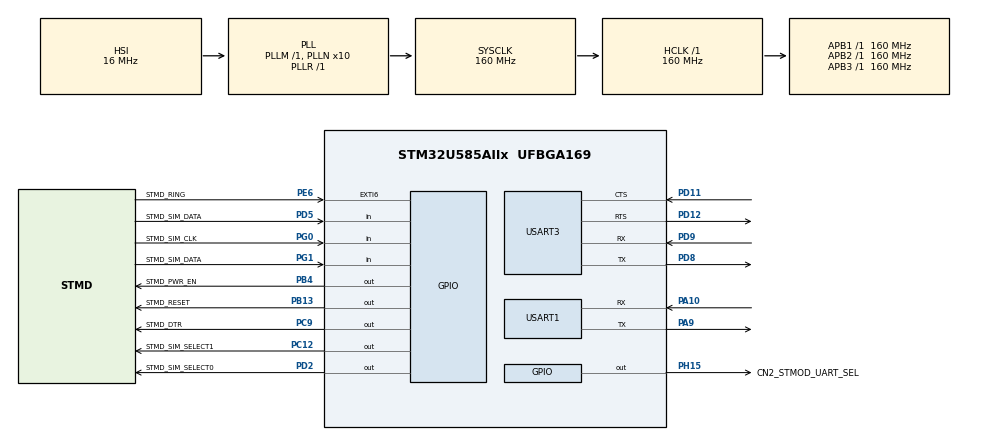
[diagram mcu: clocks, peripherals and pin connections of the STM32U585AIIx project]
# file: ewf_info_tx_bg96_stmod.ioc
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CORTEX_M33_NS.userName=CORTEX_M33
Mcu.Family=STM32U5
Mcu.Name=STM32U585AIIx
Mcu.Package=UFBGA169
NVIC.EXTI6_IRQn=true\:5\:0\:true\:false\:true\:false\:true\:true\:true
NVIC.PriorityGroup=NVIC_PRIORITYGROUP_4
NVIC.TIM3_IRQn=true\:15\:0\:false\:false\:true\:false\:false\:true\:true
NVIC.TimeBase=TIM3_IRQn
NVIC.TimeBaseIP=TIM3
NVIC.USART1_IRQn=true\:0\:0\:false\:false\:true\:false\:true\:true\:true
NVIC.USART3_IRQn=true\:0\:0\:false\:false\:true\:false\:true\:true\:true
PA10.Mode=Asynchronous
PA10.Signal=USART1_RX
PA13\ (JTMS/SWDIO).Mode=Trace_Asynchronous_SW
PA13\ (JTMS/SWDIO).Signal=DEBUG_JTMS-SWDIO
PA14\ (JTCK/SWCLK).Mode=Trace_Asynchronous_SW
PA14\ (JTCK/SWCLK).Signal=DEBUG_JTCK-SWCLK
PA9.Mode=Asynchronous
PA9.Signal=USART1_TX
PB13.GPIO_Label=STMD_RESET
PB13.PinState=GPIO_PIN_SET
PB13.Signal=GPIO_Output
PB3\ (JTDO/TRACESWO).Mode=Trace_Asynchronous_SW
PB3\ (JTDO/TRACESWO).Signal=DEBUG_JTDO-SWO
PB4\ (NJTRST).GPIO_Label=STMD_PWR_EN
PB4\ (NJTRST).PinState=GPIO_PIN_SET
PB4\ (NJTRST).Signal=GPIO_Output
PC12.GPIO_Label=STMD_SIM_SELECT1
PC12.Signal=GPIO_Output
PC9.GPIO_Label=STMD_DTR
PC9.Signal=GPIO_Output
PD11.Mode=CTS_RTS
PD11.Signal=USART3_CTS
PD12.Mode=CTS_RTS
PD12.Signal=USART3_RTS
PD2.GPIO_Label=STMD_SIM_SELECT0
PD2.Signal=GPIO_Output
PD5.GPIO_Label=STMD_SIM_DATA
PD5.Signal=GPIO_Input
PD8.Mode=Asynchronous
PD8.Signal=USART3_TX
PD9.Mode=Asynchronous
PD9.Signal=USART3_RX
PE6.GPIO_Label=STMD_RING
PE6.Signal=GPXTI6
PG0.GPIO_Label=STMD_SIM_CLK
PG0.Signal=GPIO_Input
PG1.GPIO_Label=STMD_SIM_DATA
PG1.Signal=GPIO_Input
PH15.GPIO_Label=CN2_STMOD_UART_SEL
PH15.PinState=GPIO_PIN_SET
PH15.Signal=GPIO_Output
PWR.PowerMode=PWR_SMPS_SUPPLY
ProjectManager.HeapSize=0x200
ProjectManager.StackSize=0x400
ProjectManager.TargetToolchain=STM32CubeIDE
RCC.ADCFreq_Value=16000000
RCC.AHBFreq_Value=160000000
RCC.APB1Freq_Value=160000000
RCC.APB1TimFreq_Value=160000000
RCC.APB2Freq_Value=160000000
RCC.APB2TimFreq_Value=160000000
RCC.APB3Freq_Value=160000000
RCC.CortexFreq_Value=160000000
RCC.DACCLockSelectionVirtual=RCC_DAC1CLKSOURCE_LSI
RCC.EPOD_VALUE=16000000
RCC.HCLKFreq_Value=160000000
RCC.HSE_VALUE=16000000
RCC.HSI48_VALUE=48000000
RCC.HSI_VALUE=16000000
RCC.LSE_VALUE=32768
RCC.LSIDIV_VALUE=32000
RCC.MSIClockRange=RCC_MSIRANGE_0
RCC.MSI_VALUE=48000000
RCC.PLL1R=1
RCC.PLLN=10
RCC.PLLSourceVirtual=RCC_PLLSOURCE_HSI
RCC.SPI2CLockSelection=RCC_SPI2CLKSOURCE_PCLK1
RCC.SYSCLKFreq_VALUE=160000000
RCC.SYSCLKSource=RCC_SYSCLKSOURCE_PLLCLK
RCC.USBFreq_Value=48000000
RCC.VCOOutputFreq_Value=160000000
THREADX.AZRTOS_APP_MEM_ALLOCATION_METHOD=1
THREADX.TX_APP_MEM_POOL_SIZE=(512*1)
USART1.VirtualMode-Asynchronous=VM_ASYNC
USART3.FIFOMode=FIFOMODE_ENABLE
USART3.RXFIFOThreshold=RXFIFO_THRESHOLD_1QUARTERFULL
USART3.TXFIFOThreshold=TXFIFO_THRESHOLD_1QUARTERFULL
USART3.VirtualMode-Asynchronous=VM_ASYNC
VP_ICACHE_VS_ICACHE.Mode=DirectMappedCache
VP_LPBAMQUEUE_VS_QUEUE.Mode=QUEUEMODE
VP_LPBAM_VS_SIG1.Mode=SmartRun
VP_LPBAM_VS_SIG4.Mode=LPDMA1
VP_MEMORYMAP_VS_MEMORYMAP.Mode=CurAppReg
VP_NETXDUO_VS_AddonsOoDNS.Mode=Addons_DNS
VP_NETXDUO_VS_AddonsOoPPP.Mode=Addons_PPP
VP_NETXDUO_VS_AddonsOoSNTP.Mode=Addons_SNTP
VP_NETXDUO_VS_AddonsOomDNS.Mode=Addons_mDNS
VP_NETXDUO_VS_Crypto.Mode=Crypto
VP_NETXDUO_VS_NXOoCore.Mode=NX_Core
VP_NETXDUO_VS_TLS.Mode=TLS
VP_PWR_VS_DBSignals.Mode=DisableDeadBatterySignals
VP_PWR_VS_LPOM.Mode=PowerOptimisation
VP_PWR_VS_SECSignals.Mode=Security/Privilege
VP_SYS_VS_tim3.Mode=TIM3
VP_THREADX_VS_RTOSJjThreadXJjCoreJjDefault.Mode=Core_Default
board=custom

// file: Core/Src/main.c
/* USER CODE BEGIN Header */
/**
  ******************************************************************************
  * @file           : main.c
  * @brief          : Main program body
  ******************************************************************************
  * @attention
  *
  * Copyright (c) 2022 STMicroelectronics.
  * All rights reserved.
  *
  * This software is licensed under terms that can be found in the LICENSE file
  * in the root directory of this software component.
  * If no LICENSE file comes with this software, it is provided AS-IS.
  *
  ******************************************************************************
  */
/* USER CODE END Header */
#include "app_threadx.h"
#include "main.h"

/* USER CODE BEGIN Includes */

#include <stdlib.h>

#include "stm32u5xx_hal.h"
#include "stm32u5xx_ll_bus.h"
#include "stm32u5xx_ll_rcc.h"
#include "stm32u5xx_ll_system.h"
#include "stm32u5xx_ll_utils.h"
#include "stm32u5xx_ll_pwr.h"
#include "stm32u5xx_ll_exti.h"
#include "stm32u5xx_ll_gpio.h"
#include "stm32u5xx_ll_usart.h"

#include "ewf_lib.c"
#include "ewf_platform_threadx.c"
#include "ewf_allocator.c"
#include "ewf_allocator_threadx.c"
#include "ewf_tokenizer.c"
#include "ewf_tokenizer_basic.c"
#include "ewf_interface.c"
#include "ewf_interface_stm32_uart.c"
#include "ewf_adapter.c"
#include "ewf_adapter_api_control.c"
#include "ewf_adapter_api_info.c"
#include "ewf_adapter_api_tls_basic.c"
#include "ewf_adapter_api_mqtt_basic.c"
#include "ewf_adapter_api_tcp.c"
#include "ewf_adapter_api_udp.c"
#include "ewf_adapter_api_modem.c"
#include "ewf_adapter_api_modem_general.c"
#include "ewf_adapter_api_modem_network_service.c"
#include "ewf_adapter_api_modem_packet_domain.c"
#include "ewf_adapter_api_modem_sim_utility.c"
#include "ewf_adapter_api_modem_sms.c"

#define USE_QUECTEL_MODEM 1

#if(USE_QUECTEL_MODEM)
#include "ewf_adapter_quectel_bg96.c"
#include "ewf_adapter_quectel_common_tokenizer.c"
#include "ewf_adapter_quectel_common_urc.c"
#include "ewf_adapter_quectel_common_control.c"
#include "ewf_adapter_quectel_common_context.c"
#include "ewf_adapter_quectel_common_info.c"
#include "ewf_adapter_quectel_common_internet.c"
#include "ewf_adapter_quectel_common_ufs.c"
#include "ewf_adapter_quectel_common_mqtt_basic.c"
#include "ewf_adapter_quectel_common_tls_basic.c"
#else
#include "ewf_adapter_renesas_ryz024a.c"
#include "ewf_adapter_renesas_common_tokenizer.c"
#include "ewf_adapter_renesas_common_urc.c"
#include "ewf_adapter_renesas_common_control.c"
//#include "ewf_adapter_renesas_common_context.c"
#include "ewf_adapter_renesas_common_info.c"
#include "ewf_adapter_renesas_common_internet.c"
//#include "ewf_adapter_renesas_common_ufs.c"
#include "ewf_adapter_renesas_common_mqtt_basic.c"
#include "ewf_adapter_renesas_common_tls_basic.c"
#endif

#include "ewf_example.config.h"

#define SAMPLE_DHCP_DISABLE

#include <time.h>

#include "nx_api.h"
#include "nx_tcp.h"
#include "nx_udp.h"
#ifndef SAMPLE_DHCP_DISABLE
#include "nxd_dhcp_client.h"
#endif /* SAMPLE_DHCP_DISABLE */
#include "nxd_dns.h"
#include "nx_secure_tls_api.h"
#include "nxd_sntp_client.h"
#include "ewf_middleware_netxduo.h"

#include "ewf_middleware_netxduo.c"

/* USER CODE END Includes */

/* USER CODE BEGIN PTD */
#if defined ( __GNUC__) && !defined(__clang__)
/* With GCC, small printf (option LD Linker->Libraries->Small printf
   set to 'Yes') calls __io_putchar() */
#define PUTCHAR_PROTOTYPE int __io_putchar(int ch)
#else
#define PUTCHAR_PROTOTYPE int fputc(int ch, FILE *f)
#endif /* __GNUC__ */

/* USER CODE END PTD */

UART_HandleTypeDef huart1;
UART_HandleTypeDef huart3;

void SystemClock_Config(void);
static void SystemPower_Config(void);
static void MX_GPIO_Init(void);
static void MX_ICACHE_Init(void);
static void MX_USART3_UART_Init(void);
static void MX_USART1_UART_Init(void);

/* USER CODE BEGIN 0 */

ULONG _gettimeofday(void)
{
	return 0;
}
/* Include the sample.  */
extern VOID sample_entry(NX_IP* ip_ptr, NX_PACKET_POOL* pool_ptr, NX_DNS* dns_ptr, UINT (*unix_time_callback)(ULONG *unix_time));

/* Define the helper thread for running Azure SDK on ThreadX (THREADX IoT Platform).  */
#ifndef SAMPLE_HELPER_STACK_SIZE
#define SAMPLE_HELPER_STACK_SIZE        (4096)
#endif /* SAMPLE_HELPER_STACK_SIZE  */

#ifndef SAMPLE_HELPER_THREAD_PRIORITY
#define SAMPLE_HELPER_THREAD_PRIORITY   (4)
#endif /* SAMPLE_HELPER_THREAD_PRIORITY  */

/* Define user configurable symbols. */
#ifndef SAMPLE_IP_STACK_SIZE
#define SAMPLE_IP_STACK_SIZE            (2048)
#endif /* SAMPLE_IP_STACK_SIZE  */

#ifndef SAMPLE_PACKET_COUNT
#define SAMPLE_PACKET_COUNT             (32)
#endif /* SAMPLE_PACKET_COUNT  */

#ifndef SAMPLE_PACKET_SIZE
#define SAMPLE_PACKET_SIZE              (1536)
#endif /* SAMPLE_PACKET_SIZE  */

#define SAMPLE_POOL_SIZE                ((SAMPLE_PACKET_SIZE + sizeof(NX_PACKET)) * SAMPLE_PACKET_COUNT)

#ifndef SAMPLE_ARP_CACHE_SIZE
#define SAMPLE_ARP_CACHE_SIZE           (512)
#endif /* SAMPLE_ARP_CACHE_SIZE  */

#ifndef SAMPLE_IP_THREAD_PRIORITY
#define SAMPLE_IP_THREAD_PRIORITY       (1)
#endif /* SAMPLE_IP_THREAD_PRIORITY */

#ifndef SAMPLE_SNTP_SYNC_MAX
#define SAMPLE_SNTP_SYNC_MAX             (30)
#endif /* SAMPLE_SNTP_SYNC_MAX */

#ifndef SAMPLE_SNTP_UPDATE_MAX
#define SAMPLE_SNTP_UPDATE_MAX            (30)
#endif /* SAMPLE_SNTP_UPDATE_MAX */

#ifndef SAMPLE_SNTP_UPDATE_INTERVAL
#define SAMPLE_SNTP_UPDATE_INTERVAL       (NX_IP_PERIODIC_RATE / 2)
#endif /* SAMPLE_SNTP_UPDATE_INTERVAL */

/* Default time. GMT: Friday, Jan 1, 2022 12:00:00 AM. Epoch timestamp: 1640995200.  */
#ifndef SAMPLE_SYSTEM_TIME
#define SAMPLE_SYSTEM_TIME                1640995200
#endif /* SAMPLE_SYSTEM_TIME  */

/* Seconds between Unix Epoch (1/1/1970) and NTP Epoch (1/1/1999) */
#define SAMPLE_UNIX_TO_NTP_EPOCH_SECOND   (0x83AA7E80)

ULONG g_ip_address = 0;
ULONG g_network_mask = 0;
ULONG g_gateway_address = 0;
ULONG g_dns_address = 0;

static TX_THREAD        sample_helper_thread;
static NX_PACKET_POOL   pool_0;
static NX_IP            ip_0;
static NX_DNS           dns_0;
#ifndef SAMPLE_DHCP_DISABLE
static NX_DHCP          dhcp_0;
#endif /* SAMPLE_DHCP_DISABLE  */
/* SNTP Instance */
static NX_SNTP_CLIENT   sntp_0;

/* Define the stack/cache for ThreadX.  */
static ULONG sample_ip_stack[SAMPLE_IP_STACK_SIZE / sizeof(ULONG)];
#ifndef SAMPLE_POOL_STACK_USER
static ULONG sample_pool_stack[SAMPLE_POOL_SIZE / sizeof(ULONG)];
static ULONG sample_pool_stack_size = sizeof(sample_pool_stack);
#else
extern ULONG sample_pool_stack[];
extern ULONG sample_pool_stack_size;
#endif
static ULONG sample_arp_cache_area[SAMPLE_ARP_CACHE_SIZE / sizeof(ULONG)];
static ULONG sample_helper_thread_stack[SAMPLE_HELPER_STACK_SIZE / sizeof(ULONG)];

/* Define the prototypes for sample thread.  */
static void sample_helper_thread_entry(ULONG parameter);

#ifndef SAMPLE_DHCP_DISABLE
static void dhcp_wait();
#endif /* SAMPLE_DHCP_DISABLE */

static UINT dns_create();

static ULONG unix_time_base;
static UINT unix_time_get(ULONG *unix_time);
static UINT sntp_time_sync();

static const CHAR* sntp_servers[] =
{
  "0.pool.ntp.org",
  "1.pool.ntp.org",
  "2.pool.ntp.org",
  "3.pool.ntp.org",
};
static UINT sntp_server_index;

void ewf_adapter_quectel_bg96_stmod_power_on()
{
#if(0) //bahmed
    /* Reference: Quectel BG96 Hardware Design V1.4 */
    HAL_GPIO_WritePin(STMD_RESET_GPIO_Port, STMD_RESET_Pin, GPIO_PIN_RESET);
    HAL_GPIO_WritePin(STMD_PWR_EN_GPIO_Port, STMD_PWR_EN_Pin, GPIO_PIN_RESET);
    HAL_GPIO_WritePin(STMD_DTR_GPIO_Port, STMD_DTR_Pin, GPIO_PIN_RESET);

    /* Turn OFF the module, in case of error in previous power cycle
      * Set the STMD_PWR_EN_Pin to at least 650ms */
    HAL_GPIO_WritePin(STMD_PWR_EN_GPIO_Port, STMD_PWR_EN_Pin, GPIO_PIN_SET);
    tx_thread_sleep(70U);
    HAL_GPIO_WritePin(STMD_PWR_EN_GPIO_Port, STMD_PWR_EN_Pin, GPIO_PIN_RESET);
    tx_thread_sleep(100U);

    /* Power ON sequence */
    /* Set STMD_PWR_EN_Pin to 1 (initial state) */
    HAL_GPIO_WritePin(STMD_PWR_EN_GPIO_Port, STMD_PWR_EN_Pin, GPIO_PIN_SET);
    tx_thread_sleep(5);

    /* Set STMD_PWR_EN_Pin to 0 during at least 30ms */
    HAL_GPIO_WritePin(STMD_PWR_EN_GPIO_Port, STMD_PWR_EN_Pin, GPIO_PIN_RESET);
    tx_thread_sleep(4);

    /* Set STMD_PWR_EN_Pin to 1 during at least 500ms */
    HAL_GPIO_WritePin(STMD_PWR_EN_GPIO_Port, STMD_PWR_EN_Pin, GPIO_PIN_SET);
    tx_thread_sleep(65U);

    /* Set STMD_PWR_EN_Pin to 0 */
    HAL_GPIO_WritePin(STMD_PWR_EN_GPIO_Port, STMD_PWR_EN_Pin, GPIO_PIN_RESET);
#endif

    /* Wait for the modem to reach ready state  */
    printf("Waiting for BG96 modem to be ready after power ON\n");
    tx_thread_sleep(TX_TIMER_TICKS_PER_SECOND * 10);
    printf("Modem Ready!\n");

    /* set DTR to 1 */
    HAL_GPIO_WritePin(STMD_DTR_GPIO_Port, STMD_DTR_Pin, GPIO_PIN_SET);

    /* Initialize UART3 */
    MX_USART3_UART_Init();
}

void thread_sample_entry(ULONG thread_input)
{
    /* Power on the STMOD+ BG96 modem */
    ewf_adapter_quectel_bg96_stmod_power_on();

    ewf_result result;
    UINT status=0;

    ewf_allocator* message_allocator_ptr = NULL;
    ewf_interface* interface_ptr = NULL;
    ewf_adapter* adapter_ptr = NULL;

    ULONG   ip_address = 0;
    ULONG   network_mask = 0;
    ULONG   gateway_address = 0;

    EWF_ALLOCATOR_THREADX_STATIC_DECLARE(message_allocator_ptr, message_allocator,
        EWF_CONFIG_MESSAGE_ALLOCATOR_BLOCK_COUNT,
        EWF_CONFIG_MESSAGE_ALLOCATOR_BLOCK_SIZE);
    EWF_INTERFACE_STM32_UART_STATIC_DECLARE(interface_ptr, stm32_uart_port, &huart3);
    //EWF_ADAPTER_QUECTEL_BG96_STATIC_DECLARE(adapter_ptr, quectel_bg96, message_allocator_ptr, NULL, interface_ptr);
    EWF_ADAPTER_RENESAS_RYZ024A_STATIC_DECLARE(adapter_ptr, renesas_ryz024a, message_allocator_ptr, NULL, interface_ptr);

    /* Start the adapter.  */
    if (ewf_result_failed(result = ewf_adapter_start(adapter_ptr)))
    {
        EWF_LOG_ERROR("Failed to start the adapter, ewf_result %d.\n", result);
        exit(result);
    }

    // Set the SIM PIN
    if (ewf_result_failed(result = ewf_adapter_modem_sim_pin_enter(adapter_ptr, EWF_CONFIG_SIM_PIN)))
    {
        EWF_LOG_ERROR("Failed to the SIM PIN, ewf_result %d.\n", result);
        exit(result);
    }

    // Set the ME functionality
    if (ewf_result_failed(result = ewf_adapter_modem_functionality_set(adapter_ptr, "1")))
    {
        EWF_LOG_ERROR("Failed to the ME functionality, ewf_result %d.\n", result);
        exit(result);
    }

    /* Run the adapter tests.  */
    if (ewf_result_failed(result = ewf_adapter_info(adapter_ptr)))
    {
        EWF_LOG_ERROR("Failed to run the adapter test, ewf_result %d.\n", result);
        exit(result);
    }

    EWF_LOG("\nDone!\n");

    // Start the adapter
        if (ewf_result_failed(result = ewf_adapter_start(adapter_ptr)))
        {
            EWF_LOG_ERROR("Failed to start the adapter, ewf_result %d.\n", result);
            exit(result);
        }

        // Set the SIM PIN
        if (ewf_result_failed(result = ewf_adapter_modem_sim_pin_enter(adapter_ptr, EWF_CONFIG_SIM_PIN)))
        {
            EWF_LOG_ERROR("Failed to the SIM PIN, ewf_result %d.\n", result);
            exit(result);
        }

        // Enable full functionality
        if (ewf_result_failed(result = ewf_adapter_modem_functionality_set(adapter_ptr, EWF_ADAPTER_MODEM_FUNCTIONALITY_FULL)))
        {
            EWF_LOG_ERROR("Failed to set the ME functionality, ewf_result %d.\n", result);
            exit(result);
        }

        // Activated the PDP context
        if (ewf_result_failed(result = ewf_adapter_quectel_bg96_context_activate(adapter_ptr, EWF_CONFIG_CONTEXT_ID)))
        {
            EWF_LOG("[WARNING] Failed to activate the PDP context, ewf_result %d.\n", result);
            // continue despite the error, the context may be already active
        }

        if (ewf_result_failed(result = ewf_adapter_get_ipv4_address(adapter_ptr, (uint32_t*)&g_ip_address)))
        {
            EWF_LOG_ERROR("Failed to get the adapter IPv4 address: ewf_result %d.\n", result);
            exit(result);
        }

        if (ewf_result_failed(result = ewf_adapter_get_ipv4_netmask(adapter_ptr, (uint32_t*)&g_network_mask)))
        {
            EWF_LOG_ERROR("Failed to get the adapter IPv4 netmask: ewf_result %d.\n", result);
            exit(result);
        }

        if (ewf_result_failed(result = ewf_adapter_get_ipv4_gateway(adapter_ptr, (uint32_t*)&g_gateway_address)))
        {
            EWF_LOG_ERROR("Failed to get the adapter IPv4 gateway: ewf_result %d.\n", result);
            exit(result);
        }

        if (ewf_result_failed(result = ewf_adapter_get_ipv4_dns(adapter_ptr, (uint32_t*)&g_dns_address)))
        {
            EWF_LOG_ERROR("Failed to get the adapter IPv4 DNS: ewf_result %d.\n", result);
            exit(result);
        }

        /* Initialize the NetX system.  */
        nx_system_initialize();

        /* Create a packet pool.  */
        status = nx_packet_pool_create(&pool_0, "NetX Main Packet Pool", SAMPLE_PACKET_SIZE,
                                       (UCHAR*)sample_pool_stack, sample_pool_stack_size);

        /* Check for pool creation error.  */
        if (status)
        {
            printf("nx_packet_pool_create fail: %u\r\n", status);
            return;
        }

        /* Create an IP instance.  */
        status = nx_ip_create(&ip_0, "NetX IP Instance 0",
            g_ip_address, g_network_mask,
            &pool_0,
            nx_driver_ewf_adapter,
            (UCHAR*)sample_ip_stack, sizeof(sample_ip_stack),
            SAMPLE_IP_THREAD_PRIORITY);

        /* Check for IP create errors.  */
        if (status)
        {
            printf("nx_ip_create fail: %u\r\n", status);
            return;
        }

        /* Save the adapter pointer in the IP instance */
        ip_0.nx_ip_interface->nx_interface_additional_link_info = adapter_ptr;

        /* Enable ARP and supply ARP cache memory for IP Instance 0.  */
        status = nx_arp_enable(&ip_0, (VOID*)sample_arp_cache_area, sizeof(sample_arp_cache_area));

        /* Check for ARP enable errors.  */
        if (status)
        {
            printf("nx_arp_enable fail: %u\r\n", status);
            return;
        }

        /* Enable ICMP traffic.  */
        status = nx_icmp_enable(&ip_0);

        /* Check for ICMP enable errors.  */
        if (status)
        {
            printf("nx_icmp_enable fail: %u\r\n", status);
            return;
        }

        /* Enable TCP traffic.  */
        status = nx_tcp_enable(&ip_0);

        /* Check for TCP enable errors.  */
        if (status)
        {
            printf("nx_tcp_enable fail: %u\r\n", status);
            return;
        }

        /* Enable UDP traffic.  */
        status = nx_udp_enable(&ip_0);

        /* Check for UDP enable errors.  */
        if (status)
        {
            printf("nx_udp_enable fail: %u\r\n", status);
            return;
        }

        /* Initialize TLS.  */
        nx_secure_tls_initialize();

    #ifndef SAMPLE_DHCP_DISABLE
        dhcp_wait();
    #else
        nx_ip_gateway_address_set(&ip_0, g_gateway_address);
    #endif /* SAMPLE_DHCP_DISABLE  */

        /* Get IP address and gateway address. */
        nx_ip_address_get(&ip_0, &ip_address, &network_mask);
        nx_ip_gateway_address_get(&ip_0, &gateway_address);

        /* Output IP address and gateway address. */
        printf("IP address: %lu.%lu.%lu.%lu\r\n",
               (ip_address >> 24),
               (ip_address >> 16 & 0xFF),
               (ip_address >> 8 & 0xFF),
               (ip_address & 0xFF));
        printf("Mask: %lu.%lu.%lu.%lu\r\n",
               (network_mask >> 24),
               (network_mask >> 16 & 0xFF),
               (network_mask >> 8 & 0xFF),
               (network_mask & 0xFF));
        printf("Gateway: %lu.%lu.%lu.%lu\r\n",
               (gateway_address >> 24),
               (gateway_address >> 16 & 0xFF),
               (gateway_address >> 8 & 0xFF),
               (gateway_address & 0xFF));

        /* Create DNS.  */
        status = dns_create();

        /* Check for DNS create errors.  */
        if (status)
        {
            printf("dns_create fail: %u\r\n", status);
            return;
        }

        /* Sync up time by SNTP at start up. */
        status = sntp_time_sync();

        /* Check status.  */
        if (status)
        {
            printf("SNTP Time Sync failed.\r\n");

    #if 1
            printf("Using the time() function if available.\n");
            unix_time_base = (ULONG)time(NULL);
    #else
            printf("Set Time to default value: SAMPLE_SYSTEM_TIME.\n");
            unix_time_base = SAMPLE_SYSTEM_TIME;
    #endif

        }
        else
        {
            printf("SNTP Time Sync successfully.\r\n");
        }

        ULONG unix_time = 0;

        /* Use time to init the seed.  */
        unix_time_get(&unix_time);

        /* Use time to init the seed. FIXME: use real rand on device.  */
        srand((unsigned int)time(NULL));

        /* Start sample.  */
        sample_entry(&ip_0, &pool_0, &dns_0, unix_time_get);
    /* Stay here forever.  */
    while (1)
    {
        EWF_LOG(".");
        tx_thread_sleep(TX_TIMER_TICKS_PER_SECOND);
    }
}

static UINT dns_create()
{

UINT    status;
ULONG   dns_server_address[3];
UINT    dns_server_address_size = 12;

    /* Create a DNS instance for the Client.  Note this function will create
       the DNS Client packet pool for creating DNS message packets intended
       for querying its DNS server. */
    status = nx_dns_create(&dns_0, &ip_0, (UCHAR *)"DNS Client");
    if (status)
    {
        return(status);
    }

    /* Is the DNS client configured for the host application to create the packet pool? */
#ifdef NX_DNS_CLIENT_USER_CREATE_PACKET_POOL

    /* Yes, use the packet pool created above which has appropriate payload size
       for DNS messages. */
    status = nx_dns_packet_pool_set(&dns_0, ip_0.nx_ip_default_packet_pool);
    if (status)
    {
        nx_dns_delete(&dns_0);
        return(status);
    }
#endif /* NX_DNS_CLIENT_USER_CREATE_PACKET_POOL */

#ifndef SAMPLE_DHCP_DISABLE
    /* Retrieve DNS server address.  */
    nx_dhcp_interface_user_option_retrieve(&dhcp_0, 0, NX_DHCP_OPTION_DNS_SVR, (UCHAR *)(dns_server_address),
                                           &dns_server_address_size);
#else
    dns_server_address[0] = g_dns_address;
#endif /* SAMPLE_DHCP_DISABLE */

    /* Add an IPv4 server address to the Client list. */
    status = nx_dns_server_add(&dns_0, dns_server_address[0]);
    if (status)
    {
        nx_dns_delete(&dns_0);
        return(status);
    }

    /* Output DNS Server address.  */
    printf("DNS Server address: %lu.%lu.%lu.%lu\r\n",
           (dns_server_address[0] >> 24),
           (dns_server_address[0] >> 16 & 0xFF),
           (dns_server_address[0] >> 8 & 0xFF),
           (dns_server_address[0] & 0xFF));

    return(NX_SUCCESS);
}

/* Sync up the local time. */
static UINT sntp_time_sync_internal(ULONG sntp_server_address)
{
    UINT status;
    UINT server_status;
    UINT i;

    /* Create the SNTP Client to run in broadcast mode.. */
    status = nx_sntp_client_create(&sntp_0, &ip_0, 0, &pool_0, NX_NULL, NX_NULL,
        NX_NULL /* no random_number_generator callback */);

    /* Check status. */
    if (status == NX_SUCCESS)
    {
        /* Use the IPv4 service to initialize the Client and set the IPv4 SNTP server. */
        status = nx_sntp_client_initialize_unicast(&sntp_0, sntp_server_address);

        /* Check status. */
        if (status != NX_SUCCESS)
        {
            nx_sntp_client_delete(&sntp_0);
            return (status);
        }

        /* Set local time to 0 */
        status = nx_sntp_client_set_local_time(&sntp_0, 0, 0);

        /* Check status. */
        if (status != NX_SUCCESS)
        {
            nx_sntp_client_delete(&sntp_0);
            return (status);
        }

        /* Run Unicast client */
        status = nx_sntp_client_run_unicast(&sntp_0);

        /* Check status. */
        if (status != NX_SUCCESS)
        {
            nx_sntp_client_stop(&sntp_0);
            nx_sntp_client_delete(&sntp_0);
            return (status);
        }

        /* Wait till updates are received */
        for (i = 0U; i < SAMPLE_SNTP_UPDATE_MAX; i++)
        {
            /* First verify we have a valid SNTP service running. */
            status = nx_sntp_client_receiving_updates(&sntp_0, &server_status);

            /* Check status. */
            if ((status == NX_SUCCESS) && (server_status == NX_TRUE))
            {
                /* Server status is good. Now get the Client local time. */
                ULONG sntp_seconds;
                ULONG sntp_fraction;
                ULONG system_time_in_second;

                /* Get the local time. */
                status = nx_sntp_client_get_local_time(&sntp_0, &sntp_seconds, &sntp_fraction, NX_NULL);

                /* Check status. */
                if (status != NX_SUCCESS)
                {
                    continue;
                }

                /* Get the system time in second. */
                system_time_in_second = tx_time_get() / TX_TIMER_TICKS_PER_SECOND;

                /* Convert to Unix epoch and minus the current system time. */
                unix_time_base = (sntp_seconds - (system_time_in_second + SAMPLE_UNIX_TO_NTP_EPOCH_SECOND));

                /* Time sync successfully. */

                /* Stop and delete SNTP. */
                nx_sntp_client_stop(&sntp_0);
                nx_sntp_client_delete(&sntp_0);

                return (NX_SUCCESS);
            }

            /* Sleep.  */
            tx_thread_sleep(SAMPLE_SNTP_UPDATE_INTERVAL);
        }

        /* Time sync failed. - Return not success. */
        status = NX_NOT_SUCCESSFUL;
        /* Stop and delete SNTP. */
        nx_sntp_client_stop(&sntp_0);
        nx_sntp_client_delete(&sntp_0);
    }

    return (status);
}

/* Sync up the local time.  */
static UINT sntp_time_sync(void)
{
    UINT  status;
    ULONG gateway_address;
    ULONG sntp_server_address[3];

    /* Sync time by SNTP server array. */
    for (UINT i = 0U; i < SAMPLE_SNTP_SYNC_MAX; i++)
    {
        printf("SNTP Time Sync...%s\r\n", sntp_servers[sntp_server_index]);

        /* Make sure the network is still valid. */
        while (nx_ip_gateway_address_get(&ip_0, &gateway_address))
        {
            tx_thread_sleep(NX_IP_PERIODIC_RATE);
        }

        /* Look up SNTP Server address. */
        status = nx_dns_host_by_name_get(&dns_0, (UCHAR*)sntp_servers[sntp_server_index], &sntp_server_address[0],
            (5 * NX_IP_PERIODIC_RATE));

        /* Check status. */
        if (status == NX_SUCCESS)
        {
            /* Start SNTP to sync the local time. */
            status = sntp_time_sync_internal(sntp_server_address[0]);

            /* Check status.  */
            if (status == NX_SUCCESS)
            {
                return (NX_SUCCESS);
            }
        }

        /* Switch SNTP server every time.  */
        sntp_server_index = (sntp_server_index + 1) % (sizeof(sntp_servers) / sizeof(sntp_servers[0]));
    }

    return (NX_NOT_SUCCESSFUL);
}

static UINT unix_time_get(ULONG* unix_time)
{
    /* Return number of seconds since Unix Epoch (1/1/1970 00:00:00).  */
    *unix_time = unix_time_base + (tx_time_get() / TX_TIMER_TICKS_PER_SECOND);

    return(NX_SUCCESS);
}

/* USER CODE END 0 */

int main(void)
{

  /* MCU Configuration--------------------------------------------------------*/

  /* Reset of all peripherals, Initializes the Flash interface and the Systick. */
  HAL_Init();

  /* Configure the system clock */
  SystemClock_Config();

  /* Configure the System Power */
  SystemPower_Config();

  /* Initialize all configured peripherals */
  MX_GPIO_Init();
  MX_ICACHE_Init();
  MX_USART1_UART_Init();

  MX_ThreadX_Init();

  /* We should never get here as control is now taken by the scheduler */

  /* Infinite loop */
  while (1)
  {

  }
}

void SystemClock_Config(void)
{
  RCC_OscInitTypeDef RCC_OscInitStruct = {0};
  RCC_ClkInitTypeDef RCC_ClkInitStruct = {0};

  /** Configure the main internal regulator output voltage
  */
  if (HAL_PWREx_ControlVoltageScaling(PWR_REGULATOR_VOLTAGE_SCALE1) != HAL_OK)
  {
    Error_Handler();
  }

  /** Initializes the CPU, AHB and APB buses clocks
  */
  RCC_OscInitStruct.OscillatorType = RCC_OSCILLATORTYPE_HSI;
  RCC_OscInitStruct.HSIState = RCC_HSI_ON;
  RCC_OscInitStruct.HSICalibrationValue = RCC_HSICALIBRATION_DEFAULT;
  RCC_OscInitStruct.PLL.PLLState = RCC_PLL_ON;
  RCC_OscInitStruct.PLL.PLLSource = RCC_PLLSOURCE_HSI;
  RCC_OscInitStruct.PLL.PLLMBOOST = RCC_PLLMBOOST_DIV1;
  RCC_OscInitStruct.PLL.PLLM = 1;
  RCC_OscInitStruct.PLL.PLLN = 10;
  RCC_OscInitStruct.PLL.PLLP = 2;
  RCC_OscInitStruct.PLL.PLLQ = 2;
  RCC_OscInitStruct.PLL.PLLR = 1;
  RCC_OscInitStruct.PLL.PLLRGE = RCC_PLLVCIRANGE_1;
  RCC_OscInitStruct.PLL.PLLFRACN = 0;
  if (HAL_RCC_OscConfig(&RCC_OscInitStruct) != HAL_OK)
  {
    Error_Handler();
  }

  /** Initializes the CPU, AHB and APB buses clocks
  */
  RCC_ClkInitStruct.ClockType = RCC_CLOCKTYPE_HCLK|RCC_CLOCKTYPE_SYSCLK
                              |RCC_CLOCKTYPE_PCLK1|RCC_CLOCKTYPE_PCLK2
                              |RCC_CLOCKTYPE_PCLK3;
  RCC_ClkInitStruct.SYSCLKSource = RCC_SYSCLKSOURCE_PLLCLK;
  RCC_ClkInitStruct.AHBCLKDivider = RCC_SYSCLK_DIV1;
  RCC_ClkInitStruct.APB1CLKDivider = RCC_HCLK_DIV1;
  RCC_ClkInitStruct.APB2CLKDivider = RCC_HCLK_DIV1;
  RCC_ClkInitStruct.APB3CLKDivider = RCC_HCLK_DIV1;

  if (HAL_RCC_ClockConfig(&RCC_ClkInitStruct, FLASH_LATENCY_4) != HAL_OK)
  {
    Error_Handler();
  }
}

/**
  * @brief Power Configuration
  * @retval None
  */
static void SystemPower_Config(void)
{

  /*
   * Disable the internal Pull-Up in Dead Battery pins of UCPD peripheral
   */
  HAL_PWREx_DisableUCPDDeadBattery();
}

static void MX_ICACHE_Init(void)
{

  /** Enable instruction cache in 1-way (direct mapped cache)
  */
  if (HAL_ICACHE_ConfigAssociativityMode(ICACHE_1WAY) != HAL_OK)
  {
    Error_Handler();
  }
  if (HAL_ICACHE_Enable() != HAL_OK)
  {
    Error_Handler();
  }

}

static void MX_USART1_UART_Init(void)
{

  huart1.Instance = USART1;
  huart1.Init.BaudRate = 115200;
  huart1.Init.WordLength = UART_WORDLENGTH_8B;
  huart1.Init.StopBits = UART_STOPBITS_1;
  huart1.Init.Parity = UART_PARITY_NONE;
  huart1.Init.Mode = UART_MODE_TX_RX;
  huart1.Init.HwFlowCtl = UART_HWCONTROL_NONE;
  huart1.Init.OverSampling = UART_OVERSAMPLING_16;
  huart1.Init.OneBitSampling = UART_ONE_BIT_SAMPLE_DISABLE;
  huart1.Init.ClockPrescaler = UART_PRESCALER_DIV1;
  huart1.AdvancedInit.AdvFeatureInit = UART_ADVFEATURE_NO_INIT;
  if (HAL_UART_Init(&huart1) != HAL_OK)
  {
    Error_Handler();
  }
  if (HAL_UARTEx_SetTxFifoThreshold(&huart1, UART_TXFIFO_THRESHOLD_1_8) != HAL_OK)
  {
    Error_Handler();
  }
  if (HAL_UARTEx_SetRxFifoThreshold(&huart1, UART_RXFIFO_THRESHOLD_1_8) != HAL_OK)
  {
    Error_Handler();
  }
  if (HAL_UARTEx_DisableFifoMode(&huart1) != HAL_OK)
  {
    Error_Handler();
  }

}

static void MX_USART3_UART_Init(void)
{

  huart3.Instance = USART3;
  huart3.Init.BaudRate = 115200;
  huart3.Init.WordLength = UART_WORDLENGTH_8B;
  huart3.Init.StopBits = UART_STOPBITS_1;
  huart3.Init.Parity = UART_PARITY_NONE;
  huart3.Init.Mode = UART_MODE_TX_RX;
  huart3.Init.HwFlowCtl = UART_HWCONTROL_RTS_CTS;
  huart3.Init.OverSampling = UART_OVERSAMPLING_16;
  huart3.Init.OneBitSampling = UART_ONE_BIT_SAMPLE_DISABLE;
  huart3.Init.ClockPrescaler = UART_PRESCALER_DIV1;
  huart3.AdvancedInit.AdvFeatureInit = UART_ADVFEATURE_NO_INIT;
  if (HAL_UART_Init(&huart3) != HAL_OK)
  {
    Error_Handler();
  }
  if (HAL_UARTEx_SetTxFifoThreshold(&huart3, UART_TXFIFO_THRESHOLD_1_4) != HAL_OK)
  {
    Error_Handler();
  }
  if (HAL_UARTEx_SetRxFifoThreshold(&huart3, UART_RXFIFO_THRESHOLD_1_4) != HAL_OK)
  {
    Error_Handler();
  }
  if (HAL_UARTEx_EnableFifoMode(&huart3) != HAL_OK)
  {
    Error_Handler();
  }

}

static void MX_GPIO_Init(void)
{
  GPIO_InitTypeDef GPIO_InitStruct = {0};

  /* GPIO Ports Clock Enable */
  __HAL_RCC_GPIOH_CLK_ENABLE();
  __HAL_RCC_GPIOB_CLK_ENABLE();
  __HAL_RCC_GPIOA_CLK_ENABLE();
  __HAL_RCC_GPIOE_CLK_ENABLE();
  __HAL_RCC_GPIOD_CLK_ENABLE();
  __HAL_RCC_GPIOC_CLK_ENABLE();
  __HAL_RCC_GPIOG_CLK_ENABLE();

  /*Configure GPIO pin Output Level */
  HAL_GPIO_WritePin(CN2_STMOD_UART_SEL_GPIO_Port, CN2_STMOD_UART_SEL_Pin, GPIO_PIN_SET);

  /*Configure GPIO pin Output Level */
  HAL_GPIO_WritePin(GPIOB, STMD_PWR_EN_Pin|STMD_RESET_Pin, GPIO_PIN_SET);

  /*Configure GPIO pin Output Level */
  HAL_GPIO_WritePin(GPIOC, STMD_SIM_SELECT1_Pin|STMD_DTR_Pin, GPIO_PIN_RESET);

  /*Configure GPIO pin Output Level */
  HAL_GPIO_WritePin(STMD_SIM_SELECT0_GPIO_Port, STMD_SIM_SELECT0_Pin, GPIO_PIN_RESET);

  /*Configure GPIO pin : CN2_STMOD_UART_SEL_Pin */
  GPIO_InitStruct.Pin = CN2_STMOD_UART_SEL_Pin;
  GPIO_InitStruct.Mode = GPIO_MODE_OUTPUT_PP;
  GPIO_InitStruct.Pull = GPIO_NOPULL;
  GPIO_InitStruct.Speed = GPIO_SPEED_FREQ_LOW;
  HAL_GPIO_Init(CN2_STMOD_UART_SEL_GPIO_Port, &GPIO_InitStruct);

  /*Configure GPIO pins : STMD_PWR_EN_Pin STMD_RESET_Pin */
  GPIO_InitStruct.Pin = STMD_PWR_EN_Pin|STMD_RESET_Pin;
  GPIO_InitStruct.Mode = GPIO_MODE_OUTPUT_PP;
  GPIO_InitStruct.Pull = GPIO_NOPULL;
  GPIO_InitStruct.Speed = GPIO_SPEED_FREQ_LOW;
  HAL_GPIO_Init(GPIOB, &GPIO_InitStruct);

  /*Configure GPIO pin : STMD_RING_Pin */
  GPIO_InitStruct.Pin = STMD_RING_Pin;
  GPIO_InitStruct.Mode = GPIO_MODE_IT_RISING;
  GPIO_InitStruct.Pull = GPIO_NOPULL;
  HAL_GPIO_Init(STMD_RING_GPIO_Port, &GPIO_InitStruct);

  /*Configure GPIO pin : STMD_SIM_DATA_Pin */
  GPIO_InitStruct.Pin = STMD_SIM_DATA_Pin;
  GPIO_InitStruct.Mode = GPIO_MODE_INPUT;
  GPIO_InitStruct.Pull = GPIO_NOPULL;
  HAL_GPIO_Init(STMD_SIM_DATA_GPIO_Port, &GPIO_InitStruct);

  /*Configure GPIO pins : STMD_SIM_SELECT1_Pin STMD_DTR_Pin */
  GPIO_InitStruct.Pin = STMD_SIM_SELECT1_Pin|STMD_DTR_Pin;
  GPIO_InitStruct.Mode = GPIO_MODE_OUTPUT_PP;
  GPIO_InitStruct.Pull = GPIO_NOPULL;
  GPIO_InitStruct.Speed = GPIO_SPEED_FREQ_LOW;
  HAL_GPIO_Init(GPIOC, &GPIO_InitStruct);

  /*Configure GPIO pin : STMD_SIM_SELECT0_Pin */
  GPIO_InitStruct.Pin = STMD_SIM_SELECT0_Pin;
  GPIO_InitStruct.Mode = GPIO_MODE_OUTPUT_PP;
  GPIO_InitStruct.Pull = GPIO_NOPULL;
  GPIO_InitStruct.Speed = GPIO_SPEED_FREQ_LOW;
  HAL_GPIO_Init(STMD_SIM_SELECT0_GPIO_Port, &GPIO_InitStruct);

  /*Configure GPIO pins : STMD_SIM_DATAG1_Pin STMD_SIM_CLK_Pin */
  GPIO_InitStruct.Pin = STMD_SIM_DATAG1_Pin|STMD_SIM_CLK_Pin;
  GPIO_InitStruct.Mode = GPIO_MODE_INPUT;
  GPIO_InitStruct.Pull = GPIO_NOPULL;
  HAL_GPIO_Init(GPIOG, &GPIO_InitStruct);

  /* EXTI interrupt init*/
  HAL_NVIC_SetPriority(EXTI6_IRQn, 5, 0);
  HAL_NVIC_EnableIRQ(EXTI6_IRQn);

}

/* USER CODE BEGIN 4 */
/**
* @brief  Retargets the C library printf function to the USART.
* @param  None
* @retval None
*/

PUTCHAR_PROTOTYPE
{
    /* Place your implementation of fputc here */
    /* e.g. write a character to the USART1 and Loop until the end of transmission */
    //ITM_SendChar(ch);
	HAL_UART_Transmit(&huart1, &ch,1,1000);
    return ch;
}

/* USER CODE END 4 */

void HAL_TIM_PeriodElapsedCallback(TIM_HandleTypeDef *htim)
{
  if (htim->Instance == TIM3) {
    HAL_IncTick();
  }
}

void Error_Handler(void)
{
  __disable_irq();
  while (1)
  {
  }
}
